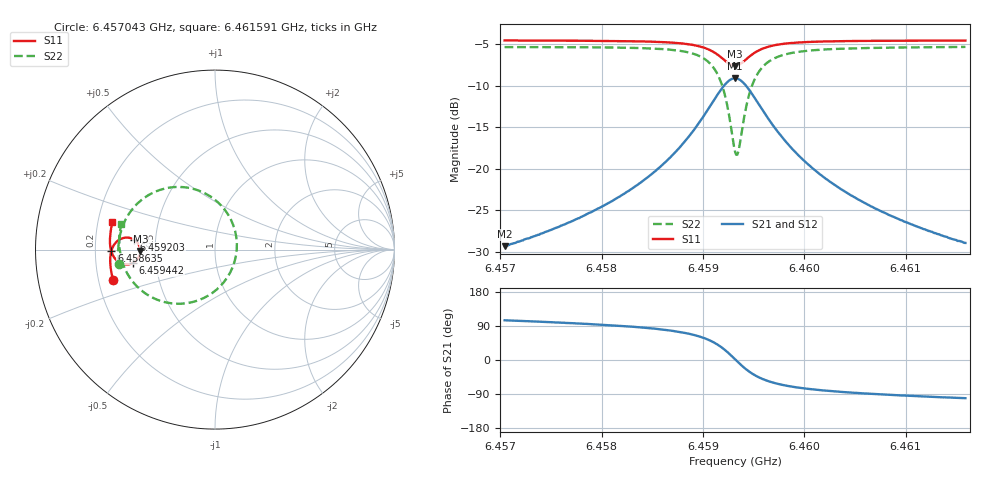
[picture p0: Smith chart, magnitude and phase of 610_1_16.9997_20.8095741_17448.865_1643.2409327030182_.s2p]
#  HZ  S  RI  R  50.00
! Rohde & Schwarz Vector Network Analyzer
! Rohde-Schwarz,ZNB20-2Port,1311601062101988,3.16
! Created: UTC 3/20/2024, 11:19:23 PM
! freq[Hz]  re:S11  im:S11  re:S21  im:S21  re:S12  im:S12  re:S22  im:S22
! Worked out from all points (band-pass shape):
!   401 points, 6.457043 GHz to 6.461591 GHz, reference 50 ohm
!   highest |S21| = -9.11 dB at 6.459317 GHz (marker M1); lowest = -29.3 dB at 6.457043 GHz (marker M2)
!   |S21| within 3 dB of the highest: 6.45909 GHz to 6.459544 GHz (454.2 kHz wide, 0.00703 % of centre)
!   lowest |S11| = -7.6 dB at 6.459317 GHz (marker M3), VSWR 2.42, Z = 20.6 - j0.393 ohm
!   |S11| at or under -10 dB: nowhere
!   |S22| runs from -18.3 to -5.3 dB; largest |S21 - S12| = 0.014
!   S11 on the Smith chart (normalised r, x): 6.457043 GHz: 0.26, -0.13; 6.458635 GHz: 0.27, -0.01; 6.459203 GHz: 0.38, +0.05; 6.459442 GHz: 0.37, -0.07; 6.461591 GHz: 0.26, +0.12
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6.4570428e9  -0.5681 -0.1672  -0.00871 0.033  -0.00691 0.0329  -0.5342 -0.0789
6.4578046e9  -0.5814 -0.1002  -0.00522 0.0511  -0.00281 0.0504  -0.5386 0.0113
6.458214e9  -0.584 -0.0591  0.000745 0.07  0.00393 0.0687  -0.5302 0.0767
6.4585664e9  -0.5798 -0.0168  0.015 0.0998  0.0191 0.0971  -0.5033 0.1568
6.4586347e9  -0.5775 -0.00732  0.0205 0.1083  0.0246 0.1051  -0.4931 0.1769
6.458828e9  -0.5645 0.0233  0.0476 0.1395  0.0517 0.1345  -0.4423 0.2464
6.4589758e9  -0.5416 0.0494  0.0936 0.1701  0.0967 0.1632  -0.3573 0.3109
6.4591122e9  -0.4972 0.0668  0.1818 0.1866  0.1826 0.179  -0.1958 0.349
6.4592032e9  -0.4522 0.0562  0.2727 0.1546  0.2729 0.1486  -0.027 0.2971
6.4592714e9  -0.4228 0.0235  0.3338 0.0815  0.336 0.0761  0.0896 0.1651
6.4593169e9  -0.4158 -0.00788  0.3501 0.0126  0.3538 0.00548  0.1218 0.036
6.459351e9  -0.4199 -0.032  0.3441 -0.0407  0.3481 -0.0499  0.1096 -0.0651
6.4593965e9  -0.4357 -0.0584  0.3148 -0.1012  0.3172 -0.1135  0.0504 -0.18
6.4594419e9  -0.4582 -0.0749  0.2719 -0.1426  0.2712 -0.1562  -0.0367 -0.2557
6.4595329e9  -0.5021 -0.0819  0.1856 -0.1739  0.1794 -0.1856  -0.2086 -0.3015
6.4596011e9  -0.5267 -0.0744  0.1368 -0.1717  0.1284 -0.1807  -0.3035 -0.2856
6.4596807e9  -0.5466 -0.0612  0.0967 -0.1592  0.0879 -0.1656  -0.3787 -0.2502
6.4598399e9  -0.5682 -0.0334  0.0513 -0.1307  0.0436 -0.1335  -0.4598 -0.1767
6.4600787e9  -0.5809 0.0022  0.0219 -0.0985  0.0161 -0.0992  -0.5079 -0.0932
6.460397e9  -0.5854 0.0406  0.00663 -0.0727  0.00251 -0.0723  -0.5287 -0.0177
6.4608405e9  -0.5834 0.0856  -0.00174 -0.0524  -0.00455 -0.0516  -0.5331 0.0552
6.4615909e9  -0.5713 0.1522  -0.00665 -0.035  -0.00845 -0.0339  -0.5216 0.1446
